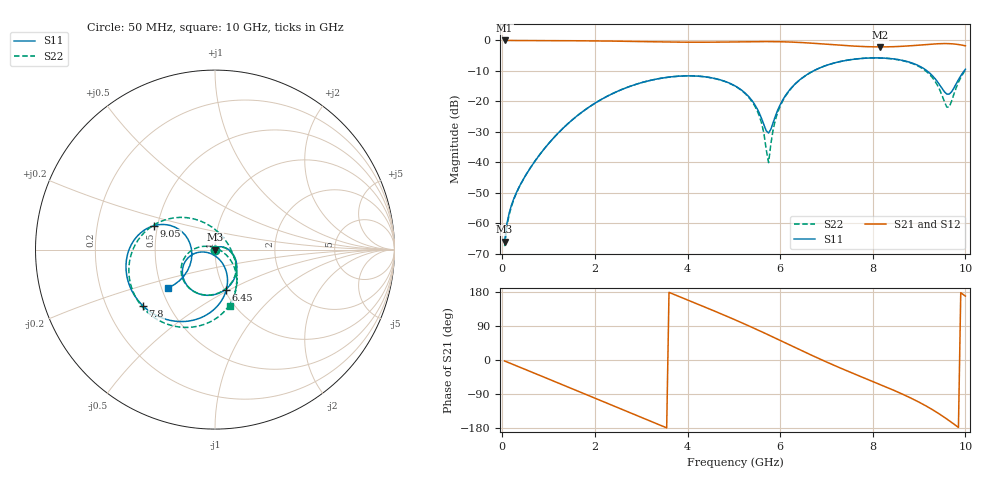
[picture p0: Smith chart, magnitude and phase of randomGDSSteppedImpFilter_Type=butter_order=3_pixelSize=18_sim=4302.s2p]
! freq	dB(S11)	phase(S11)	dB(S12)	phase(S12)
!  dB(S21)	phase(S21)	dB(S22)	phase(S22)
!S-par simulation data
#  GHz  S  DB  R 50
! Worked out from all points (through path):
!   200 points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, 50 MHz to 10 GHz, reference 50 ohm
!   highest |S21| = -0.01 dB at 50 MHz (marker M1); lowest = -2.1 dB at 8.15 GHz (marker M2)
!   group delay of S21, straight-line fit = 148 ps
!   lowest |S11| = -66.1 dB at 50 MHz (marker M3), VSWR 1.00, Z = 50 + j0.0483 ohm
!   |S11| at or under -10 dB: start of sweep to 6.719 GHz; 9.171 GHz to 9.974 GHz (802.4 MHz wide, 8.38 % of centre)
!   |S22| runs from -67.6 to -5.7 dB; largest |S21 - S12| = 0
!   S11 on the Smith chart (normalised r, x): 50 MHz: 1.00, +0.00; 6.45 GHz: 1.02, -0.49; 7.8 GHz: 0.36, -0.30; 9.05 GHz: 0.48, +0.15; 10 GHz: 0.54, -0.26
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0.05  -66.11 77.5  -0.01 -2.6  -0.01 -2.6  -67.56 68.1
0.2  -54.01 76.4  -0.02 -10.1  -0.02 -10.1  -54.40 73.4
0.5  -44.40 64.6  -0.04 -25.1  -0.04 -25.1  -44.41 62.2
1.75  -23.20 3.8  -0.12 -88.0  -0.12 -88.0  -23.21 1.8
2.5  -16.62 -34.9  -0.24 -126.1  -0.24 -126.1  -16.62 -36.3
3.4  -12.48 -80.4  -0.47 -171.5  -0.47 -171.5  -12.49 -81.6
4.2  -11.70 -119.5  -0.59 148.5  -0.59 148.5  -11.72 -121.5
5.05  -15.13 -159.1  -0.48 104.8  -0.48 104.8  -15.22 -165.8
5.5  -22.32 -170.0  -0.39 80.2  -0.39 80.2  -22.96 165.6
5.65  -27.73 -154.6  -0.38 71.8  -0.38 71.8  -30.60 146.7
5.75  -30.40 -113.2  -0.38 66.1  -0.38 66.1  -40.13 55.9
5.85  -26.93 -74.8  -0.39 60.4  -0.39 60.4  -29.14 -11.5
5.95  -22.80 -63.0  -0.41 54.6  -0.41 54.6  -23.50 -24.6
6.45  -12.61 -74.5  -0.68 25.7  -0.68 25.7  -12.64 -59.0
6.7  -10.15 -86.9  -0.91 11.4  -0.91 11.4  -10.16 -73.7
7.8  -5.87 -142.0  -2.01 -46.7  -2.01 -46.7  -5.87 -132.4
8.15  -5.75 -158.8  -2.12 -64.3  -2.12 -64.3  -5.77 -150.3
8.35  -5.91 -168.4  -2.09 -74.5  -2.09 -74.5  -5.95 -160.8
9.05  -8.77 158.4  -1.48 -114.5  -1.48 -114.5  -9.03 155.3
9.35  -12.65 150.7  -1.13 -135.6  -1.13 -135.6  -13.54 125.2
9.6  -17.62 178.0  -1.04 -155.8  -1.04 -155.8  -21.90 50.7
10  -9.46 -140.7  -1.77 168.6  -1.77 168.6  -9.75 -75.2
